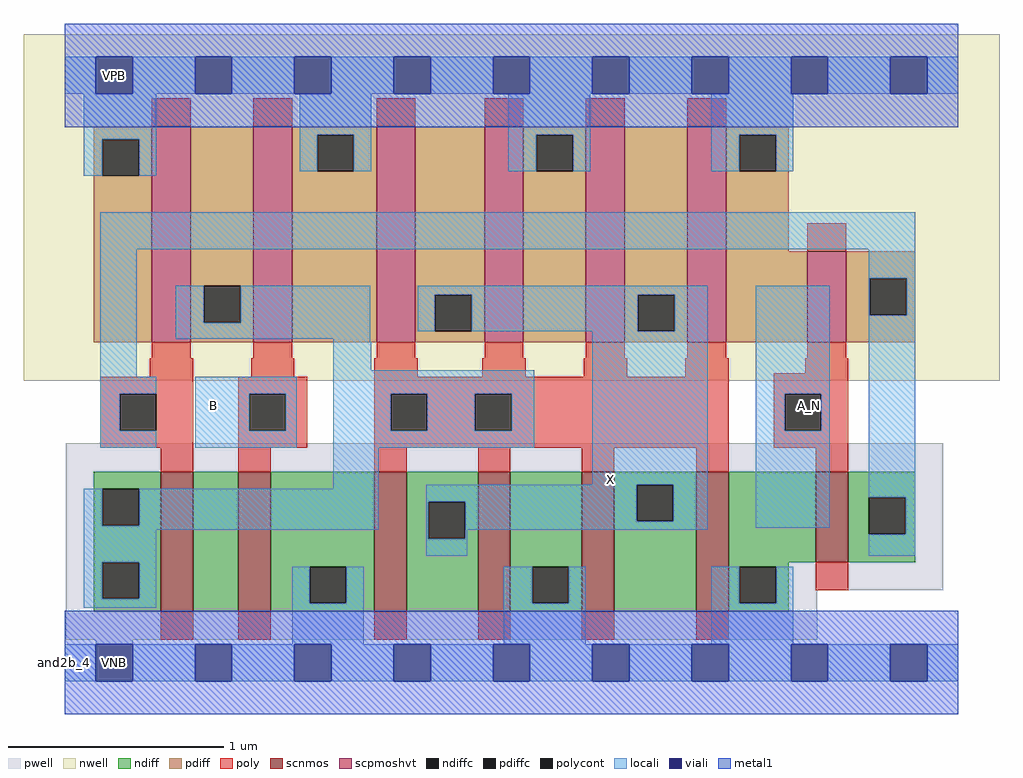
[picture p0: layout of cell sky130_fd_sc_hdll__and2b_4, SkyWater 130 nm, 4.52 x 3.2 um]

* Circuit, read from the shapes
.subckt sky130_fd_sc_hdll__and2b_4 A_N B VGND VNB VPB VPWR X
XM1 n1 n2 n3 VNB sky130_fd_pr__nfet_01v8 w=0.65 l=0.15
XM2 VGND B n1 VNB sky130_fd_pr__nfet_01v8 w=0.65 l=0.15
XM3 X n3 VGND VNB sky130_fd_pr__nfet_01v8 w=0.65 l=0.15 m=4
XM4 n2 A_N VGND VNB sky130_fd_pr__nfet_01v8 w=0.42 l=0.15
XM5 n3 n2 VPWR VPB sky130_fd_pr__pfet_01v8_hvt w=1 l=0.18
XM6 VPWR B n3 VPB sky130_fd_pr__pfet_01v8_hvt w=1 l=0.18
XM7 X n3 VPWR VPB sky130_fd_pr__pfet_01v8_hvt w=1 l=0.18 m=4
XM8 n2 A_N VPWR VPB sky130_fd_pr__pfet_01v8_hvt w=0.42 l=0.18
.ends

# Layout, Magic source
magic
tech sky130A
magscale 1 2
<< nwell >>
rect -38 261 866 582
<< pwell >>
rect 1 67 814 203
rect 1 21 697 67
rect 29 -17 63 21
<< scnmos >>
rect 89 47 119 177
rect 161 47 191 177
rect 287 47 317 177
rect 383 47 413 177
rect 479 47 509 177
rect 585 47 615 177
rect 696 93 726 177
<< scpmoshvt >>
rect 81 297 117 497
rect 175 297 211 497
rect 289 297 325 497
rect 389 297 425 497
rect 483 297 519 497
rect 577 297 613 497
rect 688 297 724 381
<< ndiff >>
rect 27 161 89 177
rect 27 127 35 161
rect 69 127 89 161
rect 27 93 89 127
rect 27 59 35 93
rect 69 59 89 93
rect 27 47 89 59
rect 119 47 161 177
rect 191 89 287 177
rect 191 55 227 89
rect 261 55 287 89
rect 191 47 287 55
rect 317 149 383 177
rect 317 115 337 149
rect 371 115 383 149
rect 317 47 383 115
rect 413 89 479 177
rect 413 55 433 89
rect 467 55 479 89
rect 413 47 479 55
rect 509 165 585 177
rect 509 131 530 165
rect 564 131 585 165
rect 509 47 585 131
rect 615 93 696 177
rect 726 153 788 177
rect 726 119 745 153
rect 779 119 788 153
rect 726 93 788 119
rect 615 89 671 93
rect 615 55 625 89
rect 659 55 671 89
rect 615 47 671 55
<< pdiff >>
rect 27 485 81 497
rect 27 451 35 485
rect 69 451 81 485
rect 27 297 81 451
rect 117 349 175 497
rect 117 315 129 349
rect 163 315 175 349
rect 117 297 175 315
rect 211 489 289 497
rect 211 455 234 489
rect 268 455 289 489
rect 211 297 289 455
rect 325 341 389 497
rect 325 307 343 341
rect 377 307 389 341
rect 325 297 389 307
rect 425 489 483 497
rect 425 455 437 489
rect 471 455 483 489
rect 425 297 483 455
rect 519 341 577 497
rect 519 307 531 341
rect 565 307 577 341
rect 519 297 577 307
rect 613 489 671 497
rect 613 455 625 489
rect 659 455 671 489
rect 613 381 671 455
rect 613 297 688 381
rect 724 356 788 381
rect 724 322 746 356
rect 780 322 788 356
rect 724 297 788 322
<< ndiffc >>
rect 35 127 69 161
rect 35 59 69 93
rect 227 55 261 89
rect 337 115 371 149
rect 433 55 467 89
rect 530 131 564 165
rect 745 119 779 153
rect 625 55 659 89
<< pdiffc >>
rect 35 451 69 485
rect 129 315 163 349
rect 234 455 268 489
rect 343 307 377 341
rect 437 455 471 489
rect 531 307 565 341
rect 625 455 659 489
rect 746 322 780 356
<< poly >>
rect 81 497 117 523
rect 175 497 211 523
rect 289 497 325 523
rect 389 497 425 523
rect 483 497 519 523
rect 577 497 613 523
rect 688 381 724 407
rect 81 282 117 297
rect 175 282 211 297
rect 289 282 325 297
rect 389 282 425 297
rect 483 282 519 297
rect 577 282 613 297
rect 688 282 724 297
rect 79 265 119 282
rect 173 265 213 282
rect 287 265 327 282
rect 387 265 427 282
rect 481 265 521 282
rect 575 265 615 282
rect 686 268 726 282
rect 33 249 119 265
rect 33 215 51 249
rect 85 215 119 249
rect 33 199 119 215
rect 89 177 119 199
rect 161 249 225 265
rect 161 215 171 249
rect 205 215 225 249
rect 161 199 225 215
rect 287 249 615 265
rect 287 215 302 249
rect 336 215 380 249
rect 414 215 615 249
rect 287 199 615 215
rect 657 249 726 268
rect 657 215 667 249
rect 701 215 726 249
rect 657 199 726 215
rect 161 177 191 199
rect 287 177 317 199
rect 383 177 413 199
rect 479 177 509 199
rect 585 177 615 199
rect 696 177 726 199
rect 696 67 726 93
rect 89 21 119 47
rect 161 21 191 47
rect 287 21 317 47
rect 383 21 413 47
rect 479 21 509 47
rect 585 21 615 47
<< polycont >>
rect 51 215 85 249
rect 171 215 205 249
rect 302 215 336 249
rect 380 215 414 249
rect 667 215 701 249
<< locali >>
rect 0 527 29 561
rect 63 527 121 561
rect 155 527 213 561
rect 247 527 305 561
rect 339 527 397 561
rect 431 527 489 561
rect 523 527 581 561
rect 615 527 673 561
rect 707 527 765 561
rect 799 527 828 561
rect 18 485 85 527
rect 18 451 35 485
rect 69 451 85 485
rect 218 489 284 527
rect 218 455 234 489
rect 268 455 284 489
rect 411 489 487 527
rect 411 455 437 489
rect 471 455 487 489
rect 599 489 675 527
rect 599 455 625 489
rect 659 455 675 489
rect 33 383 788 417
rect 33 265 67 383
rect 745 356 788 383
rect 103 315 129 349
rect 163 315 283 349
rect 103 300 283 315
rect 327 341 596 349
rect 327 307 343 341
rect 377 307 531 341
rect 565 307 596 341
rect 249 297 283 300
rect 249 271 284 297
rect 33 249 85 265
rect 33 215 51 249
rect 33 199 85 215
rect 121 249 215 265
rect 121 215 171 249
rect 205 215 215 249
rect 121 199 215 215
rect 249 249 435 271
rect 249 215 302 249
rect 336 215 380 249
rect 414 215 435 249
rect 249 199 435 215
rect 249 161 291 199
rect 489 165 596 307
rect 18 127 35 161
rect 69 127 291 161
rect 18 123 291 127
rect 335 149 530 165
rect 18 93 85 123
rect 335 115 337 149
rect 371 131 530 149
rect 564 131 596 165
rect 371 123 596 131
rect 640 249 709 349
rect 640 215 667 249
rect 701 215 709 249
rect 640 125 709 215
rect 745 322 746 356
rect 780 322 788 356
rect 745 153 788 322
rect 371 115 373 123
rect 335 99 373 115
rect 779 119 788 153
rect 745 99 788 119
rect 18 59 35 93
rect 69 59 85 93
rect 18 51 85 59
rect 211 55 227 89
rect 261 55 277 89
rect 211 17 277 55
rect 407 55 433 89
rect 467 55 483 89
rect 407 17 483 55
rect 599 55 625 89
rect 659 55 675 89
rect 599 17 675 55
rect 0 -17 29 17
rect 63 -17 121 17
rect 155 -17 213 17
rect 247 -17 305 17
rect 339 -17 397 17
rect 431 -17 489 17
rect 523 -17 581 17
rect 615 -17 673 17
rect 707 -17 765 17
rect 799 -17 828 17
<< viali >>
rect 29 527 63 561
rect 121 527 155 561
rect 213 527 247 561
rect 305 527 339 561
rect 397 527 431 561
rect 489 527 523 561
rect 581 527 615 561
rect 673 527 707 561
rect 765 527 799 561
rect 29 -17 63 17
rect 121 -17 155 17
rect 213 -17 247 17
rect 305 -17 339 17
rect 397 -17 431 17
rect 489 -17 523 17
rect 581 -17 615 17
rect 673 -17 707 17
rect 765 -17 799 17
<< metal1 >>
rect 0 561 828 592
rect 0 527 29 561
rect 63 527 121 561
rect 155 527 213 561
rect 247 527 305 561
rect 339 527 397 561
rect 431 527 489 561
rect 523 527 581 561
rect 615 527 673 561
rect 707 527 765 561
rect 799 527 828 561
rect 0 496 828 527
rect 0 17 828 48
rect 0 -17 29 17
rect 63 -17 121 17
rect 155 -17 213 17
rect 247 -17 305 17
rect 339 -17 397 17
rect 431 -17 489 17
rect 523 -17 581 17
rect 615 -17 673 17
rect 707 -17 765 17
rect 799 -17 828 17
rect 0 -48 828 -17
<< labels >>
flabel locali s 121 221 155 255 0 FreeSans 340 0 0 0 B
port 2 nsew signal input
flabel locali s 489 153 523 187 0 FreeSans 340 0 0 0 X
port 7 nsew signal output
flabel locali s 673 221 707 255 0 FreeSans 400 0 0 0 A_N
port 1 nsew signal input
flabel pwell s 29 -17 63 17 0 FreeSans 200 0 0 0 VNB
port 4 nsew ground bidirectional
flabel nwell s 29 527 63 561 0 FreeSans 200 0 0 0 VPB
port 5 nsew power bidirectional
flabel metal1 s 29 -17 63 17 0 FreeSans 200 0 0 0 VGND
port 3 nsew ground bidirectional
flabel metal1 s 29 527 63 561 0 FreeSans 200 0 0 0 VPWR
port 6 nsew power bidirectional
rlabel comment s 0 0 0 0 4 and2b_4
<< properties >>
string LEFsite unithd
string LEFclass CORE
string FIXED_BBOX 0 0 828 544
string GDS_FILE $PDKPATH/libs.ref/sky130_fd_sc_hdll/gds/sky130_fd_sc_hdll.gds
string LEFsymmetry X Y R90
string GDS_END 1786744
string GDS_START 1780894
string LEFproperties maskLayoutSubType "abstract" prCellType "standard" originalViewName "layout"
<< end >>
